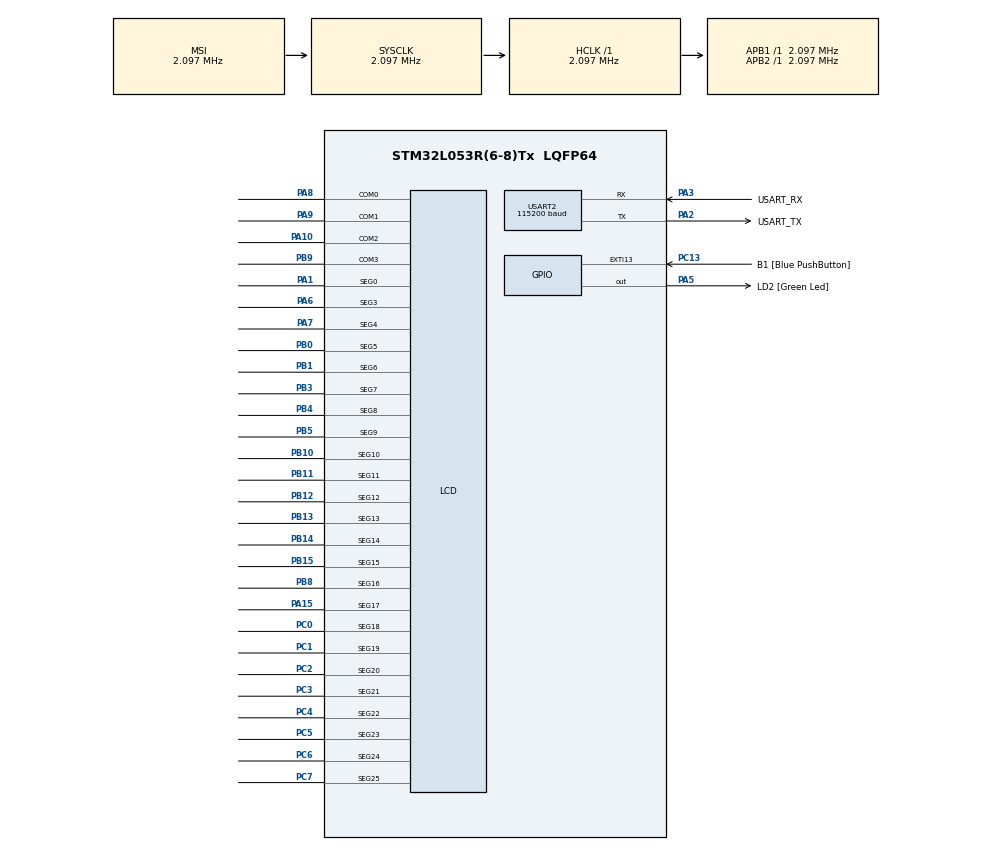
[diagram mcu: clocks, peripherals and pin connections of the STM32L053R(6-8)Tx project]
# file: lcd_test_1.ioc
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LCD.BlinkFrequency=LCD_BLINKFREQUENCY_DIV64
LCD.BlinkMode=LCD_BLINKMODE_OFF
LCD.Contrast=LCD_CONTRASTLEVEL_4
LCD.DeadTime=LCD_DEADTIME_0
LCD.Divider=LCD_DIVIDER_25
LCD.HighDrive=LCD_HIGHDRIVE_1
LCD.Prescaler=LCD_PRESCALER_8
LCD.VoltageSource=LCD_VOLTAGESOURCE_INTERNAL
Mcu.Family=STM32L0
Mcu.Name=STM32L053R(6-8)Tx
Mcu.Package=LQFP64
NVIC.RTC_IRQn=true\:0\:0\:false\:false\:true\:true
PA1.Mode=SEG0
PA1.Signal=LCD_SEG0
PA10.Mode=1/4 Duty Cycle
PA10.Signal=LCD_COM2
PA13.GPIO_Label=TMS
PA13.Mode=Serial_Wire
PA13.Signal=SYS_SWDIO
PA14.GPIO_Label=TCK
PA14.Mode=Serial_Wire
PA14.Signal=SYS_SWCLK
PA15.Mode=SEG17
PA15.Signal=LCD_SEG17
PA2.GPIO_Label=USART_TX
PA2.Mode=Asynchronous
PA2.Signal=USART2_TX
PA3.GPIO_Label=USART_RX
PA3.Mode=Asynchronous
PA3.Signal=USART2_RX
PA5.GPIO_Label=LD2 [Green Led]
PA5.PinState=GPIO_PIN_RESET
PA5.Signal=GPIO_Output
PA6.Mode=SEG3
PA6.Signal=LCD_SEG3
PA7.Mode=SEG4
PA7.Signal=LCD_SEG4
PA8.Mode=1/4 Duty Cycle
PA8.Signal=LCD_COM0
PA9.Mode=1/4 Duty Cycle
PA9.Signal=LCD_COM1
PB0.Mode=SEG5
PB0.Signal=LCD_SEG5
PB1.Mode=SEG6
PB1.Signal=LCD_SEG6
PB10.Mode=SEG10
PB10.Signal=LCD_SEG10
PB11.Mode=SEG11
PB11.Signal=LCD_SEG11
PB12.Mode=SEG12
PB12.Signal=LCD_SEG12
PB13.Mode=SEG13
PB13.Signal=LCD_SEG13
PB14.Mode=SEG14
PB14.Signal=LCD_SEG14
PB15.Mode=SEG15
PB15.Signal=LCD_SEG15
PB3.Mode=SEG7
PB3.Signal=LCD_SEG7
PB4.Mode=SEG8
PB4.Signal=LCD_SEG8
PB5.Mode=SEG9
PB5.Signal=LCD_SEG9
PB8.Mode=SEG16
PB8.Signal=LCD_SEG16
PB9.Mode=1/4 Duty Cycle
PB9.Signal=LCD_COM3
PC0.Mode=SEG18
PC0.Signal=LCD_SEG18
PC1.Mode=SEG19
PC1.Signal=LCD_SEG19
PC13.GPIO_Label=B1 [Blue PushButton]
PC13.GPIO_ModeDefaultEXTI=GPIO_MODE_IT_FALLING
PC13.Signal=GPXTI13
PC14-OSC32_IN.Mode=LSE-External-Oscillator
PC14-OSC32_IN.Signal=RCC_OSC32_IN
PC15-OSC32_OUT.Mode=LSE-External-Oscillator
PC15-OSC32_OUT.Signal=RCC_OSC32_OUT
PC2.Mode=SEG20
PC2.Signal=LCD_SEG20
PC3.Mode=SEG21
PC3.Signal=LCD_SEG21
PC4.Mode=SEG22
PC4.Signal=LCD_SEG22
PC5.Mode=SEG23
PC5.Signal=LCD_SEG23
PC6.Mode=SEG24
PC6.Signal=LCD_SEG24
PC7.Mode=SEG25
PC7.Signal=LCD_SEG25
PH0-OSC_IN.Mode=HSE-External-Clock-Source
PH0-OSC_IN.Signal=RCC_OSC_IN
PH1-OSC_OUT.Signal=RCC_OSC_OUT
ProjectManager.HeapSize=0x200
ProjectManager.StackSize=0x400
ProjectManager.TargetToolchain=Makefile
RCC.AHBFreq_Value=2097000
RCC.APB1Freq_Value=2097000
RCC.APB1TimFreq_Value=2097000
RCC.APB2Freq_Value=2097000
RCC.APB2TimFreq_Value=2097000
RCC.HCLKFreq_Value=2097000
RCC.HSE_VALUE=8000000
RCC.HSI16_VALUE=16000000
RCC.HSI48_VALUE=48000000
RCC.HSI_VALUE=16000000
RCC.MSI_VALUE=2097000
RCC.RTCClockSelectionVirtual=RCC_RTCCLKSOURCE_LSE
RCC.SYSCLKFreq_VALUE=2097000
RCC.VCOOutputFreq_Value=48000000
RTC.Date=25
RTC.Hours=8
RTC.Minutes=0
RTC.Month=RTC_MONTH_FEBRUARY
RTC.Seconds=0
RTC.WakeUpClock-WakeUp=RTC_WAKEUPCLOCK_CK_SPRE_16BITS
RTC.Year=18
USART2.BaudRate=115200
USART2.VirtualMode-Asynchronous=VM_ASYNC
USART2.WordLength=WORDLENGTH_8B
VP_RTC_VS_RTC_Activate.Mode=RTC_Enabled
VP_RTC_VS_RTC_Calendar.Mode=RTC_Calendar
VP_RTC_VS_RTC_WakeUp_intern.Mode=WakeUp
board=NUCLEO-L053R8

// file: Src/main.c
/**
  ******************************************************************************
  * @file           : main.c
  * @brief          : Main program body
  ******************************************************************************
  ** This notice applies to any and all portions of this file
  * that are not between comment pairs USER CODE BEGIN and
  * USER CODE END. Other portions of this file, whether
  * inserted by the user or by software development tools
  * are owned by their respective copyright owners.
  *
  * COPYRIGHT(c) 2018 STMicroelectronics
  *
  * Redistribution and use in source and binary forms, with or without modification,
  * are permitted provided that the following conditions are met:
  *   1. Redistributions of source code must retain the above copyright notice,
  *      this list of conditions and the following disclaimer.
  *   2. Redistributions in binary form must reproduce the above copyright notice,
  *      this list of conditions and the following disclaimer in the documentation
  *      and/or other materials provided with the distribution.
  *   3. Neither the name of STMicroelectronics nor the names of its contributors
  *      may be used to endorse or promote products derived from this software
  *      without specific prior written permission.
  *
  * THIS SOFTWARE IS PROVIDED BY THE COPYRIGHT HOLDERS AND CONTRIBUTORS "AS IS"
  * AND ANY EXPRESS OR IMPLIED WARRANTIES, INCLUDING, BUT NOT LIMITED TO, THE
  * IMPLIED WARRANTIES OF MERCHANTABILITY AND FITNESS FOR A PARTICULAR PURPOSE ARE
  * DISCLAIMED. IN NO EVENT SHALL THE COPYRIGHT HOLDER OR CONTRIBUTORS BE LIABLE
  * FOR ANY DIRECT, INDIRECT, INCIDENTAL, SPECIAL, EXEMPLARY, OR CONSEQUENTIAL
  * DAMAGES (INCLUDING, BUT NOT LIMITED TO, PROCUREMENT OF SUBSTITUTE GOODS OR
  * SERVICES; LOSS OF USE, DATA, OR PROFITS; OR BUSINESS INTERRUPTION) HOWEVER
  * CAUSED AND ON ANY THEORY OF LIABILITY, WHETHER IN CONTRACT, STRICT LIABILITY,
  * OR TORT (INCLUDING NEGLIGENCE OR OTHERWISE) ARISING IN ANY WAY OUT OF THE USE
  * OF THIS SOFTWARE, EVEN IF ADVISED OF THE POSSIBILITY OF SUCH DAMAGE.
  *
  ******************************************************************************
  */
#include "main.h"
#include "stm32l0xx_hal.h"

LCD_HandleTypeDef hlcd;

RTC_HandleTypeDef hrtc;

UART_HandleTypeDef huart2;

/* USER CODE BEGIN PV */
/* Private variables ---------------------------------------------------------*/
#define LCD_MASK (56831UL | (1UL <<13) | (1UL << 9))

static const uint16_t letters[] = {
		239, //A
		16758, //B
		209, //C
		16756, //D
		219, //E
		203, //F
		243, //G
		175, //H
		16720, //I
		53, //J
		5257, //K
		145, //L
		34213, //M
		37029, //N
		245, //O
		207, //P
		4341, //Q
		4303, //R
		37114, //S
		16704, //T
		181, //U
		3201, //V
		22693, //W
		39936, //X
		34048, //Y
		3152, //Z
};

static const uint16_t digits[] = {
		3317, // 0
		36, // 1
		95, // 2
		126, // 3
		174, // 4
		250, // 5
		251, // 6
		228, // 7
		255, // 8
		254, // 9
};

/* USER CODE END PV */

void SystemClock_Config(void);
static void MX_GPIO_Init(void);
static void MX_USART2_UART_Init(void);
static void MX_LCD_Init(void);
static void MX_RTC_Init(void);

/* USER CODE BEGIN PFP */
/* Private function prototypes -----------------------------------------------*/
HAL_StatusTypeDef LCD_Char(LCD_HandleTypeDef *hlcd, char c, uint8_t p, uint8_t m);
HAL_StatusTypeDef LCD_Clear(LCD_HandleTypeDef *hlcd, uint8_t p);
/* USER CODE END PFP */

/* USER CODE BEGIN 0 */
HAL_StatusTypeDef lcd_set(LCD_HandleTypeDef *hlcd, uint8_t p, uint16_t code, uint8_t sc)
{
	HAL_StatusTypeDef ret = HAL_OK;
	uint8_t i, j;
	const uint8_t s[] = {2*p, 2*p + 1, 23 - 2*p - 1, 23 - 2*p};

	for(i=0; i<4; i++)
	{
		uint32_t data = 0;

		for(j=0; j<4; j++)
		{
			if(code & (1UL << (4*i+j)))
			{
				data |= (1UL << (s[j] == 0 ? s[j] : s[j] + 2));
			}
		}

		if(sc)
		{
			ret = HAL_LCD_Write(hlcd, 2*i, 0xFFFFFFFF, data);
		}
		else
		{
			ret = HAL_LCD_Write(hlcd, 2*i, ~data, 0x00000000);
		}
		if(ret != HAL_OK)
			break;
	}

	return ret;
}

void display_time(void)
{
	RTC_TimeTypeDef time;
	RTC_DateTypeDef date;
	static uint8_t colon = 0x00;
	static uint8_t counter = 0x00;

	if(HAL_RTC_GetTime(&hrtc, &time, RTC_FORMAT_BCD) != HAL_OK)
	{
		_Error_Handler(__FILE__, __LINE__);
	}
	HAL_RTC_GetDate(&hrtc, &date, RTC_FORMAT_BCD);

	LCD_Clear(&hlcd, 0);
	LCD_Char(&hlcd, '0'+(time.Hours >> 4), 0, 0);

	LCD_Clear(&hlcd, 1);
	LCD_Char(&hlcd, '0'+(time.Hours & 0x0F), 1, colon);

	LCD_Clear(&hlcd, 2);
	LCD_Char(&hlcd, '0'+(time.Minutes >> 4), 2, 0);

	LCD_Clear(&hlcd, 3);
	LCD_Char(&hlcd, '0'+(time.Minutes & 0x0F), 3, colon);

	LCD_Clear(&hlcd, 4);
	LCD_Char(&hlcd, '0'+(time.Seconds >> 4), 4, counter & 0x03);

	LCD_Clear(&hlcd, 5);
	LCD_Char(&hlcd, '0'+(time.Seconds & 0x0F), 5, (counter >> 2) & 0x03);

	if(HAL_LCD_UpdateDisplayRequest(&hlcd) != HAL_OK)
	{
		_Error_Handler(__FILE__, __LINE__);
	}
	colon ^= 0x01;
	counter++;
}

/* USER CODE END 0 */

int main(void)
{

  /* MCU Configuration----------------------------------------------------------*/

  /* Reset of all peripherals, Initializes the Flash interface and the Systick. */
  HAL_Init();

  /* Configure the system clock */
  SystemClock_Config();

  /* Initialize all configured peripherals */
  MX_GPIO_Init();
  MX_USART2_UART_Init();
  MX_LCD_Init();
  MX_RTC_Init();

  /* Infinite loop */
  /* USER CODE BEGIN WHILE */

  while (HAL_GPIO_ReadPin(B1_GPIO_Port, B1_Pin) == GPIO_PIN_RESET) {};
  HAL_RTC_MspInit(&hrtc);
  if (HAL_RTCEx_SetWakeUpTimer_IT(&hrtc, 0, RTC_WAKEUPCLOCK_CK_SPRE_16BITS) != HAL_OK)
  {
    _Error_Handler(__FILE__, __LINE__);
  }
  display_time();

  while (1)
  {

  /* USER CODE END WHILE */

  /* USER CODE BEGIN 3 */
	  HAL_GPIO_WritePin(LD2_GPIO_Port, LD2_Pin, GPIO_PIN_RESET);
	  HAL_SuspendTick();
	  HAL_PWR_EnterSTOPMode(PWR_LOWPOWERREGULATOR_ON, PWR_SLEEPENTRY_WFI);
	  HAL_ResumeTick();
	  HAL_GPIO_WritePin(LD2_GPIO_Port, LD2_Pin, GPIO_PIN_SET);
	  display_time();
  }
  /* USER CODE END 3 */

}

void SystemClock_Config(void)
{

  RCC_OscInitTypeDef RCC_OscInitStruct;
  RCC_ClkInitTypeDef RCC_ClkInitStruct;
  RCC_PeriphCLKInitTypeDef PeriphClkInit;

    /**Configure the main internal regulator output voltage
    */
  __HAL_PWR_VOLTAGESCALING_CONFIG(PWR_REGULATOR_VOLTAGE_SCALE1);

    /**Configure LSE Drive Capability
    */
  __HAL_RCC_LSEDRIVE_CONFIG(RCC_LSEDRIVE_LOW);

    /**Initializes the CPU, AHB and APB busses clocks
    */
  RCC_OscInitStruct.OscillatorType = RCC_OSCILLATORTYPE_LSE|RCC_OSCILLATORTYPE_MSI;
  RCC_OscInitStruct.LSEState = RCC_LSE_ON;
  RCC_OscInitStruct.MSIState = RCC_MSI_ON;
  RCC_OscInitStruct.MSICalibrationValue = 0;
  RCC_OscInitStruct.MSIClockRange = RCC_MSIRANGE_5;
  RCC_OscInitStruct.PLL.PLLState = RCC_PLL_NONE;
  if (HAL_RCC_OscConfig(&RCC_OscInitStruct) != HAL_OK)
  {
    _Error_Handler(__FILE__, __LINE__);
  }

    /**Initializes the CPU, AHB and APB busses clocks
    */
  RCC_ClkInitStruct.ClockType = RCC_CLOCKTYPE_HCLK|RCC_CLOCKTYPE_SYSCLK
                              |RCC_CLOCKTYPE_PCLK1|RCC_CLOCKTYPE_PCLK2;
  RCC_ClkInitStruct.SYSCLKSource = RCC_SYSCLKSOURCE_MSI;
  RCC_ClkInitStruct.AHBCLKDivider = RCC_SYSCLK_DIV1;
  RCC_ClkInitStruct.APB1CLKDivider = RCC_HCLK_DIV1;
  RCC_ClkInitStruct.APB2CLKDivider = RCC_HCLK_DIV1;

  if (HAL_RCC_ClockConfig(&RCC_ClkInitStruct, FLASH_LATENCY_0) != HAL_OK)
  {
    _Error_Handler(__FILE__, __LINE__);
  }

  PeriphClkInit.PeriphClockSelection = RCC_PERIPHCLK_USART2|RCC_PERIPHCLK_RTC;
  PeriphClkInit.Usart2ClockSelection = RCC_USART2CLKSOURCE_PCLK1;
  PeriphClkInit.RTCClockSelection = RCC_RTCCLKSOURCE_LSE;
  if (HAL_RCCEx_PeriphCLKConfig(&PeriphClkInit) != HAL_OK)
  {
    _Error_Handler(__FILE__, __LINE__);
  }

    /**Configure the Systick interrupt time
    */
  HAL_SYSTICK_Config(HAL_RCC_GetHCLKFreq()/1000);

    /**Configure the Systick
    */
  HAL_SYSTICK_CLKSourceConfig(SYSTICK_CLKSOURCE_HCLK);

  /* SysTick_IRQn interrupt configuration */
  HAL_NVIC_SetPriority(SysTick_IRQn, 0, 0);
}

/* LCD init function */
static void MX_LCD_Init(void)
{

  hlcd.Instance = LCD;
  hlcd.Init.Prescaler = LCD_PRESCALER_8;
  hlcd.Init.Divider = LCD_DIVIDER_25;
  hlcd.Init.Duty = LCD_DUTY_1_4;
  hlcd.Init.Bias = LCD_BIAS_1_3;
  hlcd.Init.VoltageSource = LCD_VOLTAGESOURCE_INTERNAL;
  hlcd.Init.Contrast = LCD_CONTRASTLEVEL_4;
  hlcd.Init.DeadTime = LCD_DEADTIME_0;
  hlcd.Init.PulseOnDuration = LCD_PULSEONDURATION_1;
  hlcd.Init.HighDrive = LCD_HIGHDRIVE_1;
  hlcd.Init.BlinkMode = LCD_BLINKMODE_OFF;
  hlcd.Init.BlinkFrequency = LCD_BLINKFREQUENCY_DIV64;
  hlcd.Init.MuxSegment = LCD_MUXSEGMENT_DISABLE;
  if (HAL_LCD_Init(&hlcd) != HAL_OK)
  {
    _Error_Handler(__FILE__, __LINE__);
  }

    /**Enable the High Driver
    */
  __HAL_LCD_HIGHDRIVER_ENABLE(&hlcd);

}

/* RTC init function */
static void MX_RTC_Init(void)
{

  RTC_TimeTypeDef sTime;
  RTC_DateTypeDef sDate;

    /**Initialize RTC Only
    */
  hrtc.Instance = RTC;
if(HAL_RTCEx_BKUPRead(&hrtc, RTC_BKP_DR0) != 0x32F2){
  hrtc.Init.HourFormat = RTC_HOURFORMAT_24;
  hrtc.Init.AsynchPrediv = 127;
  hrtc.Init.SynchPrediv = 255;
  hrtc.Init.OutPut = RTC_OUTPUT_DISABLE;
  hrtc.Init.OutPutRemap = RTC_OUTPUT_REMAP_NONE;
  hrtc.Init.OutPutPolarity = RTC_OUTPUT_POLARITY_HIGH;
  hrtc.Init.OutPutType = RTC_OUTPUT_TYPE_OPENDRAIN;
  if (HAL_RTC_Init(&hrtc) != HAL_OK)
  {
    _Error_Handler(__FILE__, __LINE__);
  }

    /**Initialize RTC and set the Time and Date
    */
  sTime.Hours = 0x8;
  sTime.Minutes = 0x0;
  sTime.Seconds = 0x0;
  sTime.DayLightSaving = RTC_DAYLIGHTSAVING_NONE;
  sTime.StoreOperation = RTC_STOREOPERATION_RESET;
  if (HAL_RTC_SetTime(&hrtc, &sTime, RTC_FORMAT_BCD) != HAL_OK)
  {
    _Error_Handler(__FILE__, __LINE__);
  }

  sDate.WeekDay = RTC_WEEKDAY_MONDAY;
  sDate.Month = RTC_MONTH_FEBRUARY;
  sDate.Date = 0x25;
  sDate.Year = 0x18;

  if (HAL_RTC_SetDate(&hrtc, &sDate, RTC_FORMAT_BCD) != HAL_OK)
  {
    _Error_Handler(__FILE__, __LINE__);
  }

    /**Enable the WakeUp
    */
  if (HAL_RTCEx_SetWakeUpTimer_IT(&hrtc, 0, RTC_WAKEUPCLOCK_CK_SPRE_16BITS) != HAL_OK)
  {
    _Error_Handler(__FILE__, __LINE__);
  }

    HAL_RTCEx_BKUPWrite(&hrtc,RTC_BKP_DR0,0x32F2);
  }

}

/* USART2 init function */
static void MX_USART2_UART_Init(void)
{

  huart2.Instance = USART2;
  huart2.Init.BaudRate = 115200;
  huart2.Init.WordLength = UART_WORDLENGTH_8B;
  huart2.Init.StopBits = UART_STOPBITS_1;
  huart2.Init.Parity = UART_PARITY_NONE;
  huart2.Init.Mode = UART_MODE_TX_RX;
  huart2.Init.HwFlowCtl = UART_HWCONTROL_NONE;
  huart2.Init.OverSampling = UART_OVERSAMPLING_16;
  huart2.Init.OneBitSampling = UART_ONE_BIT_SAMPLE_DISABLE;
  huart2.AdvancedInit.AdvFeatureInit = UART_ADVFEATURE_NO_INIT;
  if (HAL_UART_Init(&huart2) != HAL_OK)
  {
    _Error_Handler(__FILE__, __LINE__);
  }

}

/** Configure pins as
        * Analog
        * Input
        * Output
        * EVENT_OUT
        * EXTI
*/
static void MX_GPIO_Init(void)
{

  GPIO_InitTypeDef GPIO_InitStruct;

  /* GPIO Ports Clock Enable */
  __HAL_RCC_GPIOC_CLK_ENABLE();
  __HAL_RCC_GPIOH_CLK_ENABLE();
  __HAL_RCC_GPIOA_CLK_ENABLE();
  __HAL_RCC_GPIOB_CLK_ENABLE();

  /*Configure GPIO pin Output Level */
  HAL_GPIO_WritePin(LD2_GPIO_Port, LD2_Pin, GPIO_PIN_RESET);

  /*Configure GPIO pin : B1_Pin */
  GPIO_InitStruct.Pin = B1_Pin;
  GPIO_InitStruct.Mode = GPIO_MODE_IT_FALLING;
  GPIO_InitStruct.Pull = GPIO_NOPULL;
  HAL_GPIO_Init(B1_GPIO_Port, &GPIO_InitStruct);

  /*Configure GPIO pin : LD2_Pin */
  GPIO_InitStruct.Pin = LD2_Pin;
  GPIO_InitStruct.Mode = GPIO_MODE_OUTPUT_PP;
  GPIO_InitStruct.Pull = GPIO_NOPULL;
  GPIO_InitStruct.Speed = GPIO_SPEED_FREQ_LOW;
  HAL_GPIO_Init(LD2_GPIO_Port, &GPIO_InitStruct);

}

/* USER CODE BEGIN 4 */
HAL_StatusTypeDef LCD_Char(LCD_HandleTypeDef *hlcd, char c, uint8_t p, uint8_t m)
{
	uint16_t code = 0;
	HAL_StatusTypeDef ret = HAL_OK;

	if(p > 5)
	{
		ret = HAL_ERROR;
	}
	else
	{
		if ((c >= 'a') && (c <= 'z'))
		{
			code = letters[c - 'a'];
		}
		else if((c >= 'A') && (c <= 'Z'))
		{
			code = letters[c - 'A'];
		}
		else if((c >= '0') && (c <= '9'))
		{
			code = digits[c - '0'];
		}
		else
		{
			ret = HAL_ERROR;
		}
	}

	if(m & 0x01)
	{
		code |= 1UL << 9;
	}
	if(m & 0x02)
	{
		code |= 1UL << 13;
	}

	if(ret == HAL_OK)
	{
		ret = lcd_set(hlcd, p, code, 1);
	}

	return ret;
}

HAL_StatusTypeDef LCD_Clear(LCD_HandleTypeDef *hlcd, uint8_t p)
{
	return lcd_set(hlcd, p, LCD_MASK, 0);
}
/* USER CODE END 4 */

void _Error_Handler(char *file, int line)
{
  /* USER CODE BEGIN Error_Handler_Debug */
  /* User can add his own implementation to report the HAL error return state */
  while(1)
  {
	  HAL_GPIO_WritePin(LD2_GPIO_Port, LD2_Pin, GPIO_PIN_SET);
	  HAL_Delay(100);
	  HAL_GPIO_WritePin(LD2_GPIO_Port, LD2_Pin, GPIO_PIN_RESET);
	  HAL_Delay(100);
  }
  /* USER CODE END Error_Handler_Debug */
}

/************************ (C) COPYRIGHT STMicroelectronics *****END OF FILE****/
